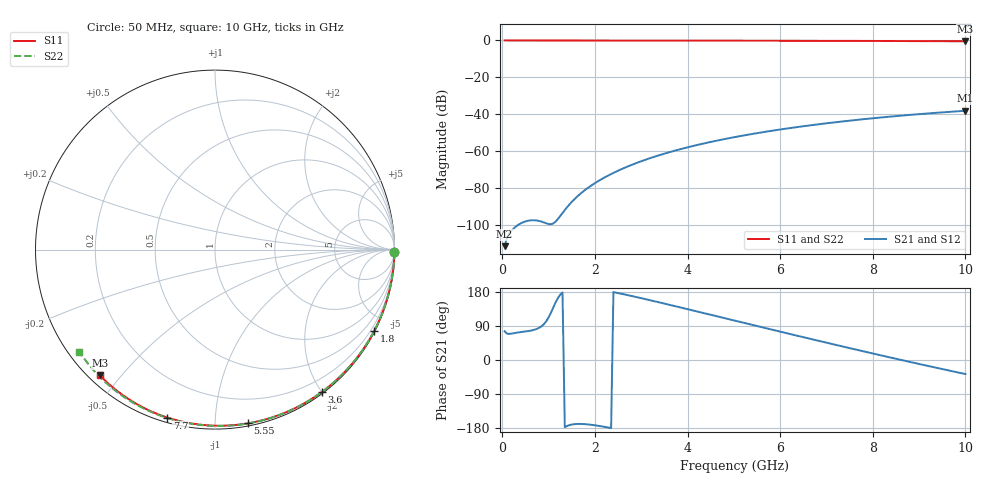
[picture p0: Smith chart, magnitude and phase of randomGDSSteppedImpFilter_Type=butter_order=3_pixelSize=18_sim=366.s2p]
! freq	dB(S11)	phase(S11)	dB(S12)	phase(S12)
!  dB(S21)	phase(S21)	dB(S22)	phase(S22)
!S-par simulation data
#  GHz  S  DB  R 50
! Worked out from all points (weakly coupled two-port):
!   200 points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, 50 MHz to 10 GHz, reference 50 ohm
!   highest |S21| = -38.15 dB at 10 GHz (marker M1); lowest = -111.6 dB at 50 MHz (marker M2)
!   lowest |S11| = -0.4 dB at 10 GHz (marker M3), VSWR 38.97, Z = 1.53 - j22 ohm
!   |S11| at or under -10 dB: nowhere
!   |S22| runs from -0.5 to 0.0 dB; largest |S21 - S12| = 0
!   S11 on the Smith chart (normalised r, x): 50 MHz: open; 1.8 GHz: 0.04, -4.14; 3.6 GHz: 0.02, -2.00; 5.55 GHz: 0.02, -1.21; 7.7 GHz: 0.02, -0.76; 10 GHz: 0.03, -0.44
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0.05  -0.00 -0.8  -111.63 75.7  -111.63 75.7  -0.00 -0.8
0.45  -0.01 -6.9  -98.65 74.5  -98.65 74.5  -0.01 -7.4
0.9  -0.02 -13.7  -98.79 94.8  -98.79 94.8  -0.02 -14.8
1.75  -0.03 -26.4  -81.88 -169.0  -81.88 -169.0  -0.04 -28.5
1.8  -0.03 -27.2  -80.90 -169.4  -80.90 -169.4  -0.04 -29.3
1.85  -0.04 -27.9  -79.98 -170.0  -79.98 -170.0  -0.04 -30.1
2  -0.04 -30.1  -77.43 -172.2  -77.43 -172.2  -0.04 -32.4
2.15  -0.04 -32.3  -75.17 -175.1  -75.17 -175.1  -0.04 -34.8
2.35  -0.05 -35.3  -72.48 -179.7  -72.48 -179.7  -0.05 -38.0
2.55  -0.05 -38.2  -70.09 175.4  -70.09 175.4  -0.05 -41.1
2.95  -0.06 -43.9  -66.00 164.6  -66.00 164.6  -0.06 -47.3
3.4  -0.07 -50.3  -62.18 151.8  -62.18 151.8  -0.07 -54.1
3.6  -0.07 -53.1  -60.69 146.0  -60.69 146.0  -0.08 -57.1
4.3  -0.09 -62.8  -56.18 125.3  -56.18 125.3  -0.10 -67.4
5.05  -0.11 -72.8  -52.29 102.9  -52.29 102.9  -0.12 -78.2
5.55  -0.13 -79.3  -50.09 88.1  -50.09 88.1  -0.14 -85.1
6.1  -0.15 -86.3  -47.95 71.9  -47.95 71.9  -0.16 -92.6
6.7  -0.18 -93.8  -45.89 54.4  -45.89 54.4  -0.19 -100.6
7.7  -0.24 -105.9  -42.98 25.6  -42.98 25.6  -0.26 -113.6
8.35  -0.29 -113.5  -41.38 7.4  -41.38 7.4  -0.31 -122.0
9.2  -0.36 -123.3  -39.58 -15.9  -39.58 -15.9  -0.39 -132.8
10  -0.45 -132.5  -38.15 -37.1  -38.15 -37.1  -0.48 -143.0
